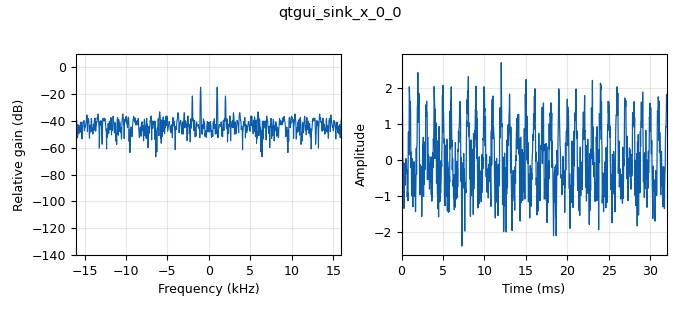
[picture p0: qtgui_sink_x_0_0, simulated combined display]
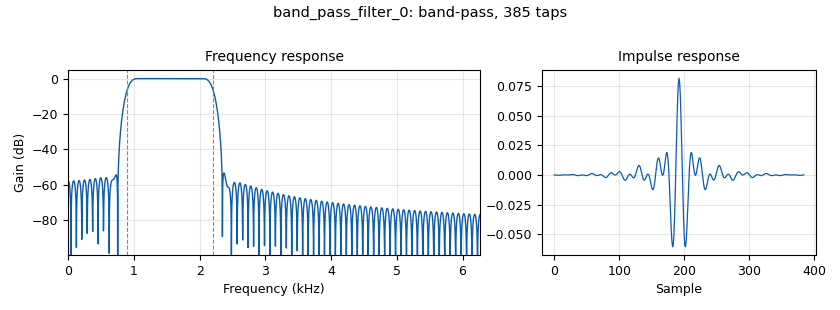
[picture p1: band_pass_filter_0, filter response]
options:
  parameters:
    generate_options: qt_gui
    id: untitled
    output_language: python
    title: tutorial
  states: {}

blocks:
- name: audio_source_sel
  id: variable_qtgui_chooser
  parameters:
    label: Audio
    label0: Before Filter
    label1: After Filter
    num_opts: '2'
    option0: '0'
    option1: '1'
    type: int
    value: '0'
  states: {}
- name: samp_rate
  id: variable
  parameters:
    value: '32000'
  states: {}
- name: analog_noise_source_x_0
  id: analog_noise_source_x
  parameters:
    amp: '0.5'
    noise_type: analog.GR_GAUSSIAN
    seed: '0'
    type: float
  states: {}
- name: analog_sig_source_x_0
  id: analog_sig_source_x
  parameters:
    amp: '0.5'
    freq: '2000'
    offset: '0'
    phase: '0'
    samp_rate: samp_rate
    type: float
    waveform: analog.GR_COS_WAVE
  states: {}
- name: analog_sig_source_x_0_0
  id: analog_sig_source_x
  parameters:
    amp: '1'
    freq: '1000'
    offset: '0'
    phase: '0'
    samp_rate: samp_rate
    type: float
    waveform: analog.GR_COS_WAVE
  states: {}
- name: audio_sink_0
  id: audio_sink
  parameters:
    samp_rate: samp_rate
  states: {}
- name: band_pass_filter_0
  id: band_pass_filter
  parameters:
    decim: '1'
    gain: '1'
    high_cutoff_freq: '2200'
    low_cutoff_freq: '900'
    samp_rate: samp_rate
    type: fir_filter_fff
    width: '200'
    win: window.WIN_HAMMING
  states: {}
- name: blocks_add_xx_0
  id: blocks_add_xx
  parameters:
    num_inputs: '3'
    type: float
  states: {}
- name: blocks_selector_0
  id: blocks_selector
  parameters:
    enabled: 'True'
    input_index: audio_source_sel
    num_inputs: '2'
    num_outputs: '1'
    output_index: '0'
    type: float
  states: {}
- name: qtgui_sink_x_0_0
  id: qtgui_sink_x
  parameters:
    bw: samp_rate
    fc: '0'
    fftsize: '1024'
    type: float
  states: {}

connections:
- [analog_noise_source_x_0, '0', blocks_add_xx_0, '2']
- [analog_sig_source_x_0, '0', blocks_add_xx_0, '1']
- [analog_sig_source_x_0_0, '0', blocks_add_xx_0, '0']
- [band_pass_filter_0, '0', blocks_selector_0, '1']
- [blocks_add_xx_0, '0', band_pass_filter_0, '0']
- [blocks_add_xx_0, '0', blocks_selector_0, '0']
- [blocks_selector_0, '0', audio_sink_0, '0']
- [blocks_selector_0, '0', qtgui_sink_x_0_0, '0']

metadata:
  file_format: 1
  grc_version: 3.10.9.2
